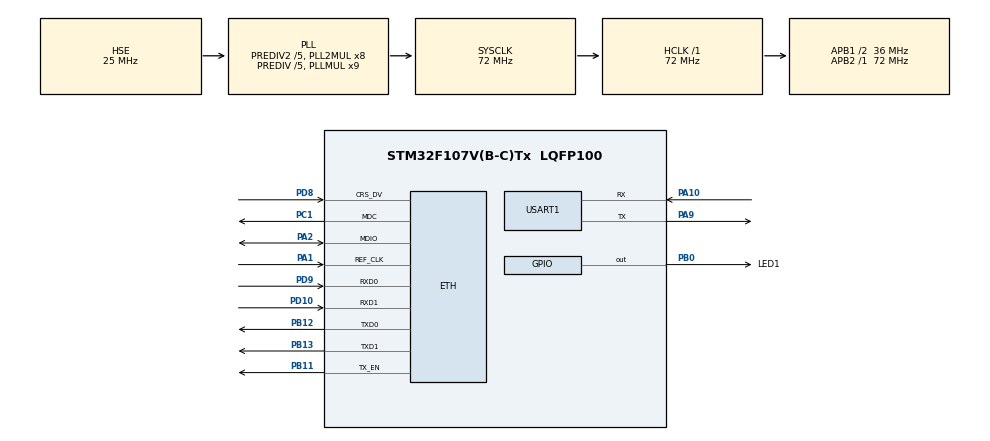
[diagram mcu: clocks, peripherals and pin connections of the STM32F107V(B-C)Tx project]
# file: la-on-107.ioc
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ETH.MediaInterface=ETH_MEDIA_INTERFACE_RMII
ETH.PHY_ISFR=0x10
ETH.PHY_ISFR_INT4=0x0001
ETH.PHY_Name_RMII=LAN8742A_PHY_ADDRESS
FREERTOS.INCLUDE_uxTaskGetStackHighWaterMark=1
FREERTOS.Tasks01=defaultTask,0,128,StartDefaultTask,Default,NULL,Dynamic,NULL,NULL;myTaskTcpEcho,-1,1024,StartTaskTcpEcho,Default,NULL,Dynamic,NULL,NULL
FREERTOS.configTOTAL_HEAP_SIZE=15360
LWIP.GATEWAY_ADDRESS=192.168.002.001
LWIP.IP_ADDRESS=192.168.002.007
LWIP.LWIP_DHCP=0
LWIP.LWIP_NETIF_LINK_CALLBACK=1
LWIP.LWIP_NETIF_STATUS_CALLBACK=1
LWIP.LWIP_PERF=1
LWIP.LWIP_UDP=1
LWIP.NETMASK_ADDRESS=255.255.255.000
LWIP.Version=v2.0.0_Cube
Mcu.Family=STM32F1
Mcu.Name=STM32F107V(B-C)Tx
Mcu.Package=LQFP100
NVIC.ETH_IRQn=true\:5\:0\:false\:false\:true\:true\:true
NVIC.PriorityGroup=NVIC_PRIORITYGROUP_4
NVIC.TIM7_IRQn=true\:0\:0\:false\:false\:true\:false\:false
NVIC.TimeBase=TIM7_IRQn
NVIC.TimeBaseIP=TIM7
NVIC.USART1_IRQn=true\:5\:0\:false\:false\:true\:true\:true
OSC_IN.Mode=HSE-External-Oscillator
OSC_IN.Signal=RCC_OSC_IN
OSC_OUT.Mode=HSE-External-Oscillator
OSC_OUT.Signal=RCC_OSC_OUT
PA1.Mode=RMII
PA1.Signal=ETH_REF_CLK
PA10.Mode=Asynchronous
PA10.Signal=USART1_RX
PA13.Mode=Serial_Wire
PA13.Signal=SYS_JTMS-SWDIO
PA14.Mode=Serial_Wire
PA14.Signal=SYS_JTCK-SWCLK
PA2.Mode=RMII
PA2.Signal=ETH_MDIO
PA9.Mode=Asynchronous
PA9.Signal=USART1_TX
PB0.GPIO_Label=LED1
PB0.Signal=GPIO_Output
PB11.Mode=RMII
PB11.Signal=ETH_TX_EN
PB12.Mode=RMII
PB12.Signal=ETH_TXD0
PB13.Mode=RMII
PB13.Signal=ETH_TXD1
PC1.Mode=RMII
PC1.Signal=ETH_MDC
PD10.Mode=RMII
PD10.Signal=ETH_RXD1
PD8.Mode=RMII
PD8.Signal=ETH_CRS_DV
PD9.Mode=RMII
PD9.Signal=ETH_RXD0
ProjectManager.HeapSize=0x200
ProjectManager.StackSize=0x400
ProjectManager.TargetToolchain=MDK-ARM V5
RCC.AHBFreq_Value=72000000
RCC.APB1CLKDivider=RCC_HCLK_DIV2
RCC.APB1Freq_Value=36000000
RCC.APB1TimFreq_Value=72000000
RCC.APB2Freq_Value=72000000
RCC.APB2TimFreq_Value=72000000
RCC.HCLKFreq_Value=72000000
RCC.HSEDivPLL=RCC_HSE_PREDIV_DIV5
RCC.HSE_VALUE=25000000
RCC.PLLMUL=RCC_PLL_MUL9
RCC.PLLSourceVirtual=RCC_PLLSOURCE_HSE
RCC.Prediv1Source=RCC_PREDIV1_SOURCE_PLL2
RCC.Prediv2=RCC_HSE_PREDIV2_DIV5
RCC.SYSCLKFreq_VALUE=72000000
RCC.SYSCLKSource=RCC_SYSCLKSOURCE_PLLCLK
RCC.USBFreq_Value=48000000
USART1.VirtualMode=VM_ASYNC
VP_FREERTOS_VS_ENABLE.Mode=Enabled
VP_LWIP_VS_Enabled.Mode=Enabled
VP_SYS_VS_tim7.Mode=TIM7
board=custom

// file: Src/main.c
/* USER CODE BEGIN Header */
/**
  ******************************************************************************
  * @file           : main.c
  * @brief          : Main program body
  ******************************************************************************
  * This notice applies to any and all portions of this file
  * that are not between comment pairs USER CODE BEGIN and
  * USER CODE END. Other portions of this file, whether
  * inserted by the user or by software development tools
  * are owned by their respective copyright owners.
  *
  * Copyright (c) 2019 STMicroelectronics International N.V.
  * All rights reserved.
  *
  * Redistribution and use in source and binary forms, with or without
  * modification, are permitted, provided that the following conditions are met:
  *
  * 1. Redistribution of source code must retain the above copyright notice,
  *    this list of conditions and the following disclaimer.
  * 2. Redistributions in binary form must reproduce the above copyright notice,
  *    this list of conditions and the following disclaimer in the documentation
  *    and/or other materials provided with the distribution.
  * 3. Neither the name of STMicroelectronics nor the names of other
  *    contributors to this software may be used to endorse or promote products
  *    derived from this software without specific written permission.
  * 4. This software, including modifications and/or derivative works of this
  *    software, must execute solely and exclusively on microcontroller or
  *    microprocessor devices manufactured by or for STMicroelectronics.
  * 5. Redistribution and use of this software other than as permitted under
  *    this license is void and will automatically terminate your rights under
  *    this license.
  *
  * THIS SOFTWARE IS PROVIDED BY STMICROELECTRONICS AND CONTRIBUTORS "AS IS"
  * AND ANY EXPRESS, IMPLIED OR STATUTORY WARRANTIES, INCLUDING, BUT NOT
  * LIMITED TO, THE IMPLIED WARRANTIES OF MERCHANTABILITY, FITNESS FOR A
  * PARTICULAR PURPOSE AND NON-INFRINGEMENT OF THIRD PARTY INTELLECTUAL PROPERTY
  * RIGHTS ARE DISCLAIMED TO THE FULLEST EXTENT PERMITTED BY LAW. IN NO EVENT
  * SHALL STMICROELECTRONICS OR CONTRIBUTORS BE LIABLE FOR ANY DIRECT, INDIRECT,
  * INCIDENTAL, SPECIAL, EXEMPLARY, OR CONSEQUENTIAL DAMAGES (INCLUDING, BUT NOT
  * LIMITED TO, PROCUREMENT OF SUBSTITUTE GOODS OR SERVICES; LOSS OF USE, DATA,
  * OR PROFITS; OR BUSINESS INTERRUPTION) HOWEVER CAUSED AND ON ANY THEORY OF
  * LIABILITY, WHETHER IN CONTRACT, STRICT LIABILITY, OR TORT (INCLUDING
  * NEGLIGENCE OR OTHERWISE) ARISING IN ANY WAY OUT OF THE USE OF THIS SOFTWARE,
  * EVEN IF ADVISED OF THE POSSIBILITY OF SUCH DAMAGE.
  *
  ******************************************************************************
  */
/* USER CODE END Header */

#include "main.h"
#include "cmsis_os.h"
#include "lwip.h"
#include "usart.h"
#include "gpio.h"

void SystemClock_Config(void);
void MX_FREERTOS_Init(void);

int main(void)
{

  /* MCU Configuration--------------------------------------------------------*/

  /* Reset of all peripherals, Initializes the Flash interface and the Systick. */
  HAL_Init();

  /* Configure the system clock */
  SystemClock_Config();

  /* Initialize all configured peripherals */
  MX_GPIO_Init();
  MX_USART1_UART_Init();

  /* Call init function for freertos objects (in freertos.c) */
  MX_FREERTOS_Init();

  /* Start scheduler */
  osKernelStart();

  /* We should never get here as control is now taken by the scheduler */

  /* Infinite loop */
  while (1)
  {

  }
}

void SystemClock_Config(void)
{
  RCC_OscInitTypeDef RCC_OscInitStruct = {0};
  RCC_ClkInitTypeDef RCC_ClkInitStruct = {0};

  /**Initializes the CPU, AHB and APB busses clocks
  */
  RCC_OscInitStruct.OscillatorType = RCC_OSCILLATORTYPE_HSE;
  RCC_OscInitStruct.HSEState = RCC_HSE_ON;
  RCC_OscInitStruct.HSEPredivValue = RCC_HSE_PREDIV_DIV5;
  RCC_OscInitStruct.HSIState = RCC_HSI_ON;
  RCC_OscInitStruct.Prediv1Source = RCC_PREDIV1_SOURCE_PLL2;
  RCC_OscInitStruct.PLL.PLLState = RCC_PLL_ON;
  RCC_OscInitStruct.PLL.PLLSource = RCC_PLLSOURCE_HSE;
  RCC_OscInitStruct.PLL.PLLMUL = RCC_PLL_MUL9;
  RCC_OscInitStruct.PLL2.PLL2State = RCC_PLL2_ON;
  RCC_OscInitStruct.PLL2.PLL2MUL = RCC_PLL2_MUL8;
  RCC_OscInitStruct.PLL2.HSEPrediv2Value = RCC_HSE_PREDIV2_DIV5;
  if (HAL_RCC_OscConfig(&RCC_OscInitStruct) != HAL_OK)
  {
    Error_Handler();
  }
  /**Initializes the CPU, AHB and APB busses clocks
  */
  RCC_ClkInitStruct.ClockType = RCC_CLOCKTYPE_HCLK|RCC_CLOCKTYPE_SYSCLK
                              |RCC_CLOCKTYPE_PCLK1|RCC_CLOCKTYPE_PCLK2;
  RCC_ClkInitStruct.SYSCLKSource = RCC_SYSCLKSOURCE_PLLCLK;
  RCC_ClkInitStruct.AHBCLKDivider = RCC_SYSCLK_DIV1;
  RCC_ClkInitStruct.APB1CLKDivider = RCC_HCLK_DIV2;
  RCC_ClkInitStruct.APB2CLKDivider = RCC_HCLK_DIV1;

  if (HAL_RCC_ClockConfig(&RCC_ClkInitStruct, FLASH_LATENCY_2) != HAL_OK)
  {
    Error_Handler();
  }
  /**Configure the Systick interrupt time
  */
  __HAL_RCC_PLLI2S_ENABLE();
}

void HAL_TIM_PeriodElapsedCallback(TIM_HandleTypeDef *htim)
{
  if (htim->Instance == TIM7) {
    HAL_IncTick();
  }
}

void Error_Handler(void)
{
}

/************************ (C) COPYRIGHT STMicroelectronics *****END OF FILE****/

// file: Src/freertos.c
/* USER CODE BEGIN Header */
/**
  ******************************************************************************
  * File Name          : freertos.c
  * Description        : Code for freertos applications
  ******************************************************************************
  * This notice applies to any and all portions of this file
  * that are not between comment pairs USER CODE BEGIN and
  * USER CODE END. Other portions of this file, whether
  * inserted by the user or by software development tools
  * are owned by their respective copyright owners.
  *
  * Copyright (c) 2019 STMicroelectronics International N.V.
  * All rights reserved.
  *
  * Redistribution and use in source and binary forms, with or without
  * modification, are permitted, provided that the following conditions are met:
  *
  * 1. Redistribution of source code must retain the above copyright notice,
  *    this list of conditions and the following disclaimer.
  * 2. Redistributions in binary form must reproduce the above copyright notice,
  *    this list of conditions and the following disclaimer in the documentation
  *    and/or other materials provided with the distribution.
  * 3. Neither the name of STMicroelectronics nor the names of other
  *    contributors to this software may be used to endorse or promote products
  *    derived from this software without specific written permission.
  * 4. This software, including modifications and/or derivative works of this
  *    software, must execute solely and exclusively on microcontroller or
  *    microprocessor devices manufactured by or for STMicroelectronics.
  * 5. Redistribution and use of this software other than as permitted under
  *    this license is void and will automatically terminate your rights under
  *    this license.
  *
  * THIS SOFTWARE IS PROVIDED BY STMICROELECTRONICS AND CONTRIBUTORS "AS IS"
  * AND ANY EXPRESS, IMPLIED OR STATUTORY WARRANTIES, INCLUDING, BUT NOT
  * LIMITED TO, THE IMPLIED WARRANTIES OF MERCHANTABILITY, FITNESS FOR A
  * PARTICULAR PURPOSE AND NON-INFRINGEMENT OF THIRD PARTY INTELLECTUAL PROPERTY
  * RIGHTS ARE DISCLAIMED TO THE FULLEST EXTENT PERMITTED BY LAW. IN NO EVENT
  * SHALL STMICROELECTRONICS OR CONTRIBUTORS BE LIABLE FOR ANY DIRECT, INDIRECT,
  * INCIDENTAL, SPECIAL, EXEMPLARY, OR CONSEQUENTIAL DAMAGES (INCLUDING, BUT NOT
  * LIMITED TO, PROCUREMENT OF SUBSTITUTE GOODS OR SERVICES; LOSS OF USE, DATA,
  * OR PROFITS; OR BUSINESS INTERRUPTION) HOWEVER CAUSED AND ON ANY THEORY OF
  * LIABILITY, WHETHER IN CONTRACT, STRICT LIABILITY, OR TORT (INCLUDING
  * NEGLIGENCE OR OTHERWISE) ARISING IN ANY WAY OUT OF THE USE OF THIS SOFTWARE,
  * EVEN IF ADVISED OF THE POSSIBILITY OF SUCH DAMAGE.
  *
  ******************************************************************************
  */
/* USER CODE END Header */

#include "FreeRTOS.h"
#include "task.h"
#include "main.h"
#include "cmsis_os.h"

/* USER CODE BEGIN Includes */
#include "lwip/sys.h"
#include "lwip/api.h"
#include "string.h"
/* USER CODE END Includes */

osThreadId defaultTaskHandle;
osThreadId myTaskTcpEchoHandle;

void StartDefaultTask(void const * argument);
void StartTaskTcpEcho(void const * argument);

extern void MX_LWIP_Init(void);
void MX_FREERTOS_Init(void); /* (MISRA C 2004 rule 8.1) */

void MX_FREERTOS_Init(void) {

  /* Create the thread(s) */
  /* definition and creation of defaultTask */
  osThreadDef(defaultTask, StartDefaultTask, osPriorityNormal, 0, 128);
  defaultTaskHandle = osThreadCreate(osThread(defaultTask), NULL);

  /* definition and creation of myTaskTcpEcho */
  osThreadDef(myTaskTcpEcho, StartTaskTcpEcho, osPriorityBelowNormal, 0, 1024);
  myTaskTcpEchoHandle = osThreadCreate(osThread(myTaskTcpEcho), NULL);

}

void StartDefaultTask(void const * argument)
{
  /* init code for LWIP */
  MX_LWIP_Init();

  /* USER CODE BEGIN StartDefaultTask */
  /* Infinite loop */
  for(;;)
  {
		HAL_GPIO_TogglePin(LED1_GPIO_Port,LED1_Pin);
    osDelay(500);
  }
  /* USER CODE END StartDefaultTask */
}

void StartTaskTcpEcho(void const * argument)
{
  /* USER CODE BEGIN StartTaskTcpEcho */
    struct netconn *conn, *newconn;
		err_t err, accept_err;
		struct netbuf *buf;
		void *data;
		u16_t len;
		err_t recv_err;
		LWIP_UNUSED_ARG(argument);
		/* Create a new connection identifier. */
		conn = netconn_new(NETCONN_TCP);
			if (conn!=NULL)
		{
			/* Bind connection to well known port number 7. */
			err = netconn_bind(conn, NULL, 7);
			if (err == ERR_OK)
			{
				/* Tell connection to go into listening mode. */
				netconn_listen(conn);
					while (1)
					{
						/* Grab new connection. */
						accept_err = netconn_accept(conn, &newconn);
						/* Process the new connection. */
						if (accept_err == ERR_OK)
						{
							while (( recv_err = netconn_recv(newconn, &buf)) == ERR_OK)
								{
								do
								{
									netbuf_data(buf, &data, &len);
									//netconn_write(newconn, data, len, NETCONN_COPY);
								}
								while (netbuf_next(buf) >= 0);
								netbuf_delete(buf);
								}
							/* Close connection and discard connection identifier. */
							netconn_close(newconn);
							netconn_delete(newconn);
						}
					}
			}
			else
			{
				netconn_delete(newconn);
				printf(" can not bind TCP netconn");
			}
		}
		else
		{
			printf("can not create TCP netconn");
		}

  /* USER CODE END StartTaskTcpEcho */
}

/************************ (C) COPYRIGHT STMicroelectronics *****END OF FILE****/
